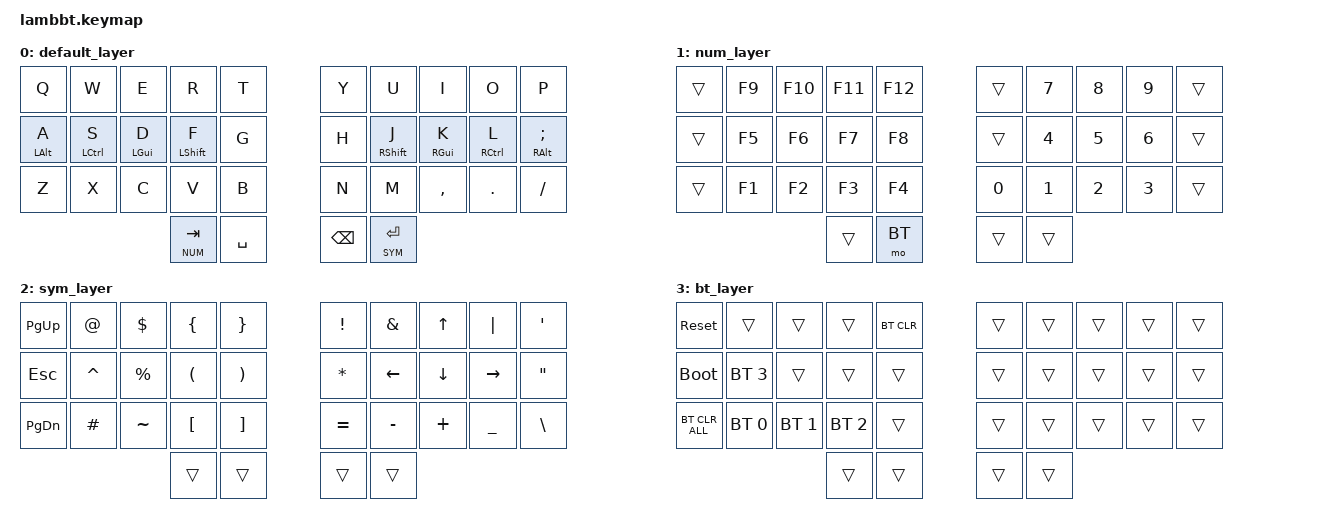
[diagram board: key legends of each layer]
// Copyright (c) 2022 The ZMK Contributors
// SPDX-License-Identifier: MIT

#include <behaviors.dtsi>
#include <dt-bindings/zmk/keys.h>
#include <dt-bindings/zmk/bt.h>
#include <dt-bindings/zmk/outputs.h>

#define NUM 1
#define SYM 2
#define BT 3


/ {
    combos {
        #include "combos.dtsi"    
    };

    behaviors {
        ht: hold_tap {
            compatible = "zmk,behavior-hold-tap";
            #binding-cells = <2>;
            flavor = "tap-preferred";
            tapping-term-ms = <220>;
            quick-tap-ms = <150>;
            require-prior-idle-ms = <100>;
            bindings = <&kp>, <&kp>;
        };
    };

    keymap {
        compatible = "zmk,keymap";
        default_layer {
            bindings = <
        //╭──────────┬──────────┬──────────┬──────────┬──────────╮   ╭──────────┬──────────┬──────────┬──────────┬──────────╮
        //│  Q       │  W       │  E       │  R       │  T       │   │  Y       │  U       │  I       │  O       │  P       │
            &kp Q      &kp W      &kp E      &kp R      &kp T          &kp Y      &kp U      &kp I      &kp O      &kp P
        //├──────────┼──────────┼──────────┼──────────┼──────────┤   ├──────────┼──────────┼──────────┼──────────┼──────────┤
        //│  A       │  S       │  D       │  F       │  G       │   │  H       │  J       │  K       │  L       │   ;      │
           &ht LALT A &ht LCTRL S &ht LGUI D &ht LSHFT F &kp G         &kp H    &ht RSHFT J &ht RGUI K &ht RCTRL L &ht RALT SEMI
        //  HRML(A,        S,         D,         F)     &kp G          &kp H      HRMR(J,        K,         L,        ;)
        //├──────────┼──────────┼──────────┼──────────┼──────────┤   ├──────────┼──────────┼──────────┼──────────┼──────────┤
        //│  Z       │  X       │  C       │  V       │  B       │   │  N       │  M       │ , <      │ . >      │ / ?      │
            &kp Z      &kp X      &kp C      &kp V      &kp B          &kp N      &kp M      &kp COMMA  &kp DOT    &kp FSLH
        //╰──────────┴──────────┴──────────┼──────────┼──────────┤   ├──────────┼──────────┼──────────┴──────────┴──────────╯
                                           &lt NUM TAB &kp SPACE      &kp BSPC   &lt SYM RET
        //                                 ╰──────────┴──────────╯   ╰──────────┴──────────╯
        >;
        };

        num_layer {
            bindings = <
        //╭──────────┬──────────┬──────────┬──────────┬──────────╮   ╭──────────┬──────────┬──────────┬──────────┬──────────╮
        //│          │          │          │          │          │   │          │          │          │          │          │
            &trans    &kp F9     &kp F10     &kp F11  &kp F12        &trans     &kp N7     &kp N8     &kp N9      &trans
        //├──────────┼──────────┼──────────┼──────────┼──────────┤   ├──────────┼──────────┼──────────┼──────────┼──────────┤
        //│          │          │          │          │          │   │          │          │          │          │          │
            &trans    &kp F5     &kp F6     &kp F7    &kp F8         &trans     &kp N4     &kp N5     &kp N6      &trans
        //├──────────┼──────────┼──────────┼──────────┼──────────┤   ├──────────┼──────────┼──────────┼──────────┼──────────┤
        //│          │          │          │          │          │   │          │          │          │          │          │
            &trans    &kp F1     &kp F2    &kp F3      &kp F4        &kp N0     &kp N1     &kp N2     &kp N3      &trans
        //╰──────────┴──────────┴──────────┼──────────┼──────────┤   ├──────────┼──────────┼──────────┴──────────┴──────────╯
                                             &trans     &mo BT         &trans     &trans
        //                                 ╰──────────┴──────────╯   ╰──────────┴──────────╯
            >;
        };

        sym_layer {
            bindings = <
        //╭──────────┬──────────┬──────────┬──────────┬──────────╮   ╭──────────┬──────────┬──────────┬──────────┬──────────╮
        //│          │    @     │    $     │    {     │    }     │   │    !     │    &     │   UP     │    |     │    '     │
            &kp PG_UP   &kp AT    &kp DLLR     &kp LBRC   &kp RBRC      &kp EXCL  &kp AMPS   &kp UP   &kp PIPE   &kp SQT
        //├──────────┼──────────┼──────────┼──────────┼──────────┤   ├──────────┼──────────┼──────────┼──────────┼──────────┤
        //│          │   ^      │    %     │    (     │  )       │   │ *        │ LEFT     │   DOWN   │  RIGHT   │    "     │
            &kp ESC   &kp CARET  &kp PRCNT  &kp LPAR  &kp RPAR       &kp STAR    &kp LEFT    &kp DOWN    &kp RIGHT   &kp DQT
        //├──────────┼──────────┼──────────┼──────────┼──────────┤   ├──────────┼──────────┼──────────┼──────────┼──────────┤
        //│          │   #      │   ~      │    [     │   ]      │   │   =      │   -      │  +       │   _      │    \     │
            &kp PG_DN &kp HASH   &kp TILDE  &kp LBKT  &kp RBKT       &kp EQUAL  &kp MINUS   &kp PLUS   &kp UNDER     &kp BSLH
        //╰──────────┴──────────┴──────────┼──────────┼──────────┤   ├──────────┼──────────┼──────────┴──────────┴──────────╯
                                                 &trans     &trans         &trans     &trans
        //                                 ╰──────────┴──────────╯   ╰──────────┴──────────╯
            >;
        };

        bt_layer {
            bindings = <
        //╭──────────┬──────────┬──────────┬──────────┬──────────╮   ╭──────────┬──────────┬──────────┬──────────┬──────────╮
        //│          │          │          │          │          │   │          │          │          │          │          │
            &sys_reset &trans     &trans     &trans    &bt BT_CLR       &trans     &trans     &trans     &trans     &trans
        //├──────────┼──────────┼──────────┼──────────┼──────────┤   ├──────────┼──────────┼──────────┼──────────┼──────────┤
        //│          │          │          │          │          │   │          │          │          │          │          │
          &bootloader &bt BT_SEL 3 &trans     &trans     &trans         &trans     &trans     &trans     &trans     &trans
        //├──────────┼──────────┼──────────┼──────────┼──────────┤   ├──────────┼──────────┼──────────┼──────────┼──────────┤
        //│          │          │          │          │          │   │          │          │          │          │          │
        &bt BT_CLR_ALL &bt BT_SEL 0 &bt BT_SEL 1 &bt BT_SEL 2 &trans    &trans     &trans     &trans     &trans     &trans
        //╰──────────┴──────────┴──────────┼──────────┼──────────┤   ├──────────┼──────────┼──────────┴──────────┴──────────╯
                                             &trans     &trans         &trans     &trans
        //                                 ╰──────────┴──────────╯   ╰──────────┴──────────╯
            >;
        };
    };
};
